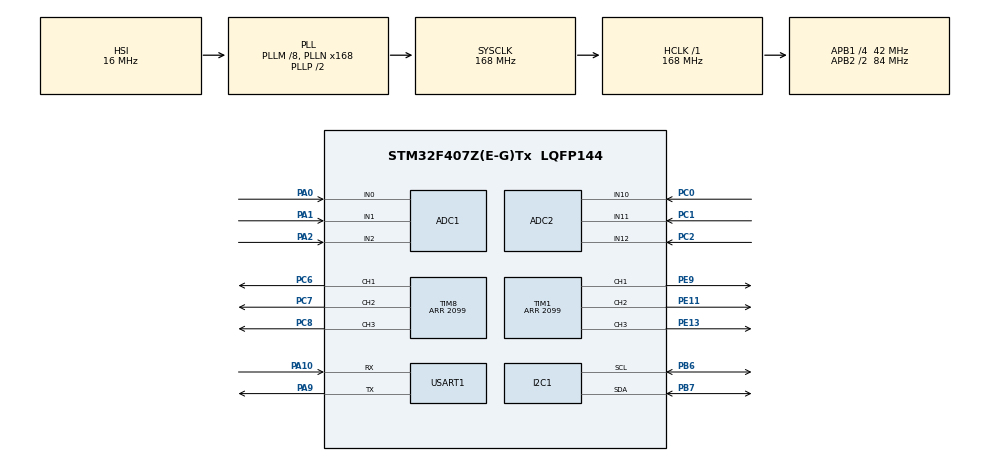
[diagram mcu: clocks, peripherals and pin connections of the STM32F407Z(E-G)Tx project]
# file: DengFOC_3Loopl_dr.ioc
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ADC1.Channel-0\#ChannelRegularConversion=ADC_CHANNEL_1
ADC1.Channel-1\#ChannelInjectedConversion=ADC_CHANNEL_0
ADC1.Channel-2\#ChannelInjectedConversion=ADC_CHANNEL_1
ADC1.Channel-3\#ChannelInjectedConversion=ADC_CHANNEL_2
ADC1.InjNumberOfConversion=3
ADC1.InjectedOffset-1\#ChannelInjectedConversion=0
ADC1.InjectedOffset-2\#ChannelInjectedConversion=0
ADC1.InjectedOffset-3\#ChannelInjectedConversion=0
ADC1.InjectedRank-1\#ChannelInjectedConversion=1
ADC1.InjectedRank-2\#ChannelInjectedConversion=2
ADC1.InjectedRank-3\#ChannelInjectedConversion=3
ADC1.NbrOfConversionFlag=1
ADC1.Rank-0\#ChannelRegularConversion=1
ADC1.SamplingTime-0\#ChannelRegularConversion=ADC_SAMPLETIME_15CYCLES
ADC1.SamplingTime-1\#ChannelInjectedConversion=ADC_SAMPLETIME_15CYCLES
ADC1.SamplingTime-2\#ChannelInjectedConversion=ADC_SAMPLETIME_15CYCLES
ADC1.SamplingTime-3\#ChannelInjectedConversion=ADC_SAMPLETIME_15CYCLES
ADC1.ScanConvMode=ENABLE
ADC1.master=1
ADC2.Channel-4\#ChannelRegularConversion=ADC_CHANNEL_10
ADC2.Channel-7\#ChannelInjectedConversion=ADC_CHANNEL_10
ADC2.Channel-8\#ChannelInjectedConversion=ADC_CHANNEL_11
ADC2.Channel-9\#ChannelInjectedConversion=ADC_CHANNEL_12
ADC2.InjNumberOfConversion=3
ADC2.InjectedOffset-7\#ChannelInjectedConversion=0
ADC2.InjectedOffset-8\#ChannelInjectedConversion=0
ADC2.InjectedOffset-9\#ChannelInjectedConversion=0
ADC2.InjectedRank-7\#ChannelInjectedConversion=1
ADC2.InjectedRank-8\#ChannelInjectedConversion=2
ADC2.InjectedRank-9\#ChannelInjectedConversion=3
ADC2.NbrOfConversion=1
ADC2.NbrOfConversionFlag=1
ADC2.Rank-4\#ChannelRegularConversion=1
ADC2.SamplingTime-4\#ChannelRegularConversion=ADC_SAMPLETIME_15CYCLES
ADC2.SamplingTime-7\#ChannelInjectedConversion=ADC_SAMPLETIME_15CYCLES
ADC2.SamplingTime-8\#ChannelInjectedConversion=ADC_SAMPLETIME_15CYCLES
ADC2.SamplingTime-9\#ChannelInjectedConversion=ADC_SAMPLETIME_15CYCLES
ADC2.ScanConvMode=ENABLE
I2C1.I2C_Mode=I2C_Fast
Mcu.Family=STM32F4
Mcu.Name=STM32F407Z(E-G)Tx
Mcu.Package=LQFP144
NVIC.PriorityGroup=NVIC_PRIORITYGROUP_4
NVIC.TIM2_IRQn=true\:0\:0\:false\:false\:true\:true\:true\:true
PA0-WKUP.Signal=ADCx_IN0
PA1.Signal=ADCx_IN1
PA10.Mode=Asynchronous
PA10.Signal=USART1_RX
PA13.Mode=Serial_Wire
PA13.Signal=SYS_JTMS-SWDIO
PA14.Mode=Serial_Wire
PA14.Signal=SYS_JTCK-SWCLK
PA2.Signal=ADCx_IN2
PA9.Mode=Asynchronous
PA9.Signal=USART1_TX
PB6.Mode=I2C
PB6.Signal=I2C1_SCL
PB7.Mode=I2C
PB7.Signal=I2C1_SDA
PC0.Signal=ADCx_IN10
PC1.Signal=ADCx_IN11
PC2.Signal=ADCx_IN12
PC6.Signal=S_TIM8_CH1
PC7.Signal=S_TIM8_CH2
PC8.Signal=S_TIM8_CH3
PE11.Signal=S_TIM1_CH2
PE13.Signal=S_TIM1_CH3
PE9.Signal=S_TIM1_CH1
PH0-OSC_IN.Mode=HSE-External-Oscillator
PH0-OSC_IN.Signal=RCC_OSC_IN
PH1-OSC_OUT.Mode=HSE-External-Oscillator
PH1-OSC_OUT.Signal=RCC_OSC_OUT
ProjectManager.HeapSize=0x200
ProjectManager.StackSize=0x400
ProjectManager.TargetToolchain=MDK-ARM V5.32
RCC.48MHZClocksFreq_Value=84000000
RCC.AHBFreq_Value=168000000
RCC.APB1CLKDivider=RCC_HCLK_DIV4
RCC.APB1Freq_Value=42000000
RCC.APB1TimFreq_Value=84000000
RCC.APB2CLKDivider=RCC_HCLK_DIV2
RCC.APB2Freq_Value=84000000
RCC.APB2TimFreq_Value=168000000
RCC.CortexFreq_Value=168000000
RCC.HCLKFreq_Value=168000000
RCC.HSE_VALUE=25000000
RCC.HSI_VALUE=16000000
RCC.LSE_VALUE=32768
RCC.PLLM=8
RCC.PLLN=168
RCC.SYSCLKFreq_VALUE=168000000
RCC.SYSCLKSource=RCC_SYSCLKSOURCE_PLLCLK
RCC.VCOOutputFreq_Value=336000000
SH.ADCx_IN0.0=ADC1_IN0,IN0
SH.ADCx_IN1.0=ADC1_IN1,IN1
SH.ADCx_IN10.0=ADC2_IN10,IN10
SH.ADCx_IN11.0=ADC2_IN11,IN11
SH.ADCx_IN12.0=ADC2_IN12,IN12
SH.ADCx_IN2.0=ADC1_IN2,IN2
SH.S_TIM1_CH1.0=TIM1_CH1,PWM Generation1 CH1
SH.S_TIM1_CH2.0=TIM1_CH2,PWM Generation2 CH2
SH.S_TIM1_CH3.0=TIM1_CH3,PWM Generation3 CH3
SH.S_TIM8_CH1.0=TIM8_CH1,PWM Generation1 CH1
SH.S_TIM8_CH2.0=TIM8_CH2,PWM Generation2 CH2
SH.S_TIM8_CH3.0=TIM8_CH3,PWM Generation3 CH3
TIM1.AutomaticOutput=TIM_AUTOMATICOUTPUT_ENABLE
TIM1.Channel-PWM\ Generation1\ CH1=TIM_CHANNEL_1
TIM1.Channel-PWM\ Generation2\ CH2=TIM_CHANNEL_2
TIM1.Channel-PWM\ Generation3\ CH3=TIM_CHANNEL_3
TIM1.CounterMode=TIM_COUNTERMODE_CENTERALIGNED1
TIM1.Period=2099
TIM2.Period=999
TIM2.Prescaler=83
TIM8.AutomaticOutput=TIM_AUTOMATICOUTPUT_ENABLE
TIM8.Channel-PWM\ Generation1\ CH1=TIM_CHANNEL_1
TIM8.Channel-PWM\ Generation2\ CH2=TIM_CHANNEL_2
TIM8.Channel-PWM\ Generation3\ CH3=TIM_CHANNEL_3
TIM8.Period=2099
USART1.VirtualMode=VM_ASYNC
VP_TIM2_VS_ClockSourceINT.Mode=Internal
board=custom

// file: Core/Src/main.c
/* USER CODE BEGIN Header */
/**
  ******************************************************************************
  * @file           : main.c
  * @brief          : Main program body
  ******************************************************************************
  * @attention
  *
  * Copyright (c) 2026 STMicroelectronics.
  * All rights reserved.
  *
  * This software is licensed under terms that can be found in the LICENSE file
  * in the root directory of this software component.
  * If no LICENSE file comes with this software, it is provided AS-IS.
  *
  ******************************************************************************
  */
/* USER CODE END Header */
#include "main.h"
#include "adc.h"
#include "i2c.h"
#include "tim.h"
#include "usart.h"
#include "gpio.h"

/* USER CODE BEGIN Includes */
#include "foc_app.h"
#include "i2c.h"
#include <math.h>
#include "as5600.h"
#include "pid.h"
#include "vofa_plus.h"
#include "foc_ctrl.h"

/* USER CODE END Includes */

void SystemClock_Config(void);

int main(void)
{

  /* MCU Configuration--------------------------------------------------------*/

  /* Reset of all peripherals, Initializes the Flash interface and the Systick. */
  HAL_Init();

  /* Configure the system clock */
  SystemClock_Config();

  /* Initialize all configured peripherals */
  MX_GPIO_Init();
  MX_I2C1_Init();
  MX_TIM1_Init();
  MX_TIM2_Init();
  MX_USART1_UART_Init();
  MX_ADC1_Init();
  MX_ADC2_Init();
  MX_TIM8_Init();
  /* USER CODE BEGIN 2 */
// 1. 强行绑定 电机 1 的专属物理外设
motor1.htim = &htim1;
motor1.hadc = &hadc1;
motor1.hi2c = &hi2c1;
motor1.adc_rank_ia = ADC_INJECTED_RANK_1;
motor1.adc_rank_ib = ADC_INJECTED_RANK_2;
motor1.adc_rank_ic = ADC_INJECTED_RANK_3;
FOC_Init(&motor1); // 🚀 丢入指针，开启电机1开机偏置大数校准

// 2. 强行绑定 电机 2 的专属物理外设 (假设你开了 TIM8 和 ADC2)
motor2.htim = &htim8;
motor2.hadc = &hadc2;
motor2.hi2c = &hi2c1; // 如果两个传感器接在同一个总线上靠地址脚区分
motor2.adc_rank_ia = ADC_INJECTED_RANK_1;
motor2.adc_rank_ib = ADC_INJECTED_RANK_2;
motor2.adc_rank_ic = ADC_INJECTED_RANK_3;
FOC_Init(&motor2); // 🚀 丢入指针，开启电机2开机偏置大数校准

// 3. 释放定时器硬件大闸
HAL_TIM_PWM_Start(&htim1, TIM_CHANNEL_1);
HAL_TIM_PWM_Start(&htim1, TIM_CHANNEL_2);
HAL_TIM_PWM_Start(&htim1, TIM_CHANNEL_3);
__HAL_TIM_MOE_ENABLE(&htim1);

HAL_TIM_PWM_Start(&htim8, TIM_CHANNEL_1);
HAL_TIM_PWM_Start(&htim8, TIM_CHANNEL_2);
HAL_TIM_PWM_Start(&htim8, TIM_CHANNEL_3);
__HAL_TIM_MOE_ENABLE(&htim8);

// 4. 开启 1ms 调度中断服务
HAL_TIM_Base_Start_IT(&htim2);

// 给个初始测试目标位置
motor1.target_pos = 10.0f;
motor2.target_pos = -5.0f;
  /* USER CODE END 2 */

  /* Infinite loop */
  while (1)
  {

  }
}

void SystemClock_Config(void)
{
  RCC_OscInitTypeDef RCC_OscInitStruct = {0};
  RCC_ClkInitTypeDef RCC_ClkInitStruct = {0};

  /** Configure the main internal regulator output voltage
  */
  __HAL_RCC_PWR_CLK_ENABLE();
  __HAL_PWR_VOLTAGESCALING_CONFIG(PWR_REGULATOR_VOLTAGE_SCALE1);

  /** Initializes the RCC Oscillators according to the specified parameters
  * in the RCC_OscInitTypeDef structure.
  */
  RCC_OscInitStruct.OscillatorType = RCC_OSCILLATORTYPE_HSI;
  RCC_OscInitStruct.HSIState = RCC_HSI_ON;
  RCC_OscInitStruct.HSICalibrationValue = RCC_HSICALIBRATION_DEFAULT;
  RCC_OscInitStruct.PLL.PLLState = RCC_PLL_ON;
  RCC_OscInitStruct.PLL.PLLSource = RCC_PLLSOURCE_HSI;
  RCC_OscInitStruct.PLL.PLLM = 8;
  RCC_OscInitStruct.PLL.PLLN = 168;
  RCC_OscInitStruct.PLL.PLLP = RCC_PLLP_DIV2;
  RCC_OscInitStruct.PLL.PLLQ = 4;
  if (HAL_RCC_OscConfig(&RCC_OscInitStruct) != HAL_OK)
  {
    Error_Handler();
  }

  /** Initializes the CPU, AHB and APB buses clocks
  */
  RCC_ClkInitStruct.ClockType = RCC_CLOCKTYPE_HCLK|RCC_CLOCKTYPE_SYSCLK
                              |RCC_CLOCKTYPE_PCLK1|RCC_CLOCKTYPE_PCLK2;
  RCC_ClkInitStruct.SYSCLKSource = RCC_SYSCLKSOURCE_PLLCLK;
  RCC_ClkInitStruct.AHBCLKDivider = RCC_SYSCLK_DIV1;
  RCC_ClkInitStruct.APB1CLKDivider = RCC_HCLK_DIV4;
  RCC_ClkInitStruct.APB2CLKDivider = RCC_HCLK_DIV2;

  if (HAL_RCC_ClockConfig(&RCC_ClkInitStruct, FLASH_LATENCY_5) != HAL_OK)
  {
    Error_Handler();
  }
}

/* USER CODE BEGIN 4 */
void HAL_TIM_PeriodElapsedCallback(TIM_HandleTypeDef *htim) {
    if (htim->Instance == TIM2) { // ����� 1ms ����������
        FOC_Task_1ms(); // ִ�����Ǹ�д�õ���ָ�Ӻ���
    }
}
/* USER CODE END 4 */

void Error_Handler(void)
{
  __disable_irq();
  while (1)
  {
  }
}
